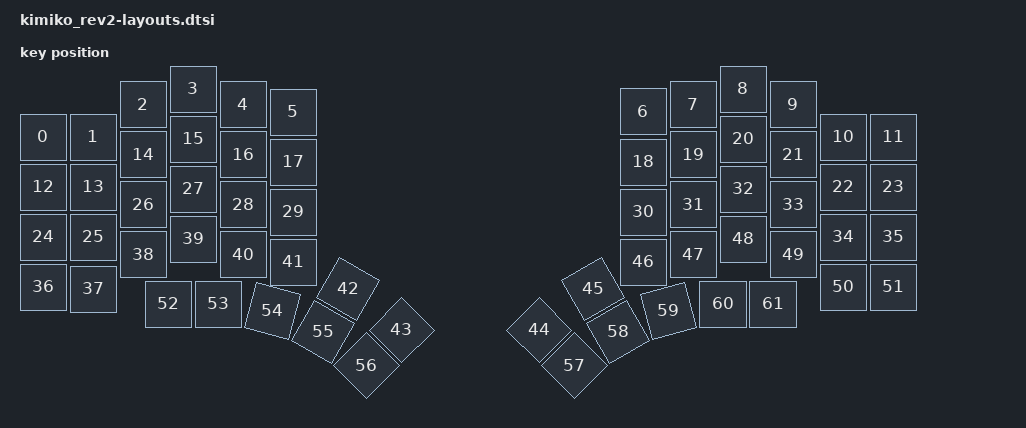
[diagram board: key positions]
// See https://zmk.dev/docs/development/hardware-integration/physical-layouts
// for how to configure this.

#include <physical_layouts.dtsi>

/ {
    default_layout: default_layout {
        compatible = "zmk,physical-layout";
        display-name = "Default Layout";
        transform = <&default_transform>;
        kscan = <&kscan>;

        // Edit this to define the positions and sizes of the keys, or remove it
        // if your keyboard will not support ZMK Studio.
        // https://zmk.dev/docs/development/hardware-integration/physical-layouts#optional-keys-property

        keys  //                     w   h    x    y     rot    rx    ry
            = <&key_physical_attrs 100 100    0   96       0     0     0>
            , <&key_physical_attrs 100 100  100   96       0     0     0>
            , <&key_physical_attrs 100 100  200   31       0     0     0>
            , <&key_physical_attrs 100 100  300    0       0     0     0>
            , <&key_physical_attrs 100 100  400   31       0     0     0>
            , <&key_physical_attrs 100 100  500   46       0     0     0>
            , <&key_physical_attrs 100 100 1200   45       0     0     0>
            , <&key_physical_attrs 100 100 1300   31       0     0     0>
            , <&key_physical_attrs 100 100 1400    0       0     0     0>
            , <&key_physical_attrs 100 100 1500   31       0     0     0>
            , <&key_physical_attrs 100 100 1600   96       0     0     0>
            , <&key_physical_attrs 100 100 1700   96       0     0     0>
            , <&key_physical_attrs 100 100    0  196       0     0     0>
            , <&key_physical_attrs 100 100  100  196       0     0     0>
            , <&key_physical_attrs 100 100  200  131       0     0     0>
            , <&key_physical_attrs 100 100  300  100       0     0     0>
            , <&key_physical_attrs 100 100  400  131       0     0     0>
            , <&key_physical_attrs 100 100  500  146       0     0     0>
            , <&key_physical_attrs 100 100 1200  146       0     0     0>
            , <&key_physical_attrs 100 100 1300  131       0     0     0>
            , <&key_physical_attrs 100 100 1400  100       0     0     0>
            , <&key_physical_attrs 100 100 1500  131       0     0     0>
            , <&key_physical_attrs 100 100 1600  196       0     0     0>
            , <&key_physical_attrs 100 100 1700  196       0     0     0>
            , <&key_physical_attrs 100 100    0  296       0     0     0>
            , <&key_physical_attrs 100 100  100  296       0     0     0>
            , <&key_physical_attrs 100 100  200  231       0     0     0>
            , <&key_physical_attrs 100 100  300  200       0     0     0>
            , <&key_physical_attrs 100 100  400  231       0     0     0>
            , <&key_physical_attrs 100 100  500  246       0     0     0>
            , <&key_physical_attrs 100 100 1200  246       0     0     0>
            , <&key_physical_attrs 100 100 1300  231       0     0     0>
            , <&key_physical_attrs 100 100 1400  200       0     0     0>
            , <&key_physical_attrs 100 100 1500  231       0     0     0>
            , <&key_physical_attrs 100 100 1600  296       0     0     0>
            , <&key_physical_attrs 100 100 1700  296       0     0     0>
            , <&key_physical_attrs 100 100    0  396       0     0     0>
            , <&key_physical_attrs 100 100  100  400       0     0     0>
            , <&key_physical_attrs 100 100  200  331       0     0     0>
            , <&key_physical_attrs 100 100  300  300       0     0     0>
            , <&key_physical_attrs 100 100  400  331       0     0     0>
            , <&key_physical_attrs 100 100  500  346       0     0     0>
            , <&key_physical_attrs 100 100  350  330    3000   400   900>
            , <&key_physical_attrs 100 100  350  330    4500   400   900>
            , <&key_physical_attrs 100 100 1360  330 (-4500)  1410   900>
            , <&key_physical_attrs 100 100 1360  330 (-3000)  1410   900>
            , <&key_physical_attrs 100 100 1200  346       0     0     0>
            , <&key_physical_attrs 100 100 1300  331       0     0     0>
            , <&key_physical_attrs 100 100 1400  300       0     0     0>
            , <&key_physical_attrs 100 100 1500  331       0     0     0>
            , <&key_physical_attrs 100 100 1600  396       0     0     0>
            , <&key_physical_attrs 100 100 1700  396       0     0     0>
            , <&key_physical_attrs 100 100  250  430       0     0     0>
            , <&key_physical_attrs 100 100  350  430       0     0     0>
            , <&key_physical_attrs 100 100  350  430    1500   400   900>
            , <&key_physical_attrs 100 100  350  430    3000   400   900>
            , <&key_physical_attrs 100 100  350  430    4500   400   900>
            , <&key_physical_attrs 100 100 1360  430 (-4500)  1410   900>
            , <&key_physical_attrs 100 100 1360  430 (-3000)  1410   900>
            , <&key_physical_attrs 100 100 1360  430 (-1500)  1410   900>
            , <&key_physical_attrs 100 100 1360  430       0     0     0>
            , <&key_physical_attrs 100 100 1460  430       0     0     0>
            ;
    };
};
